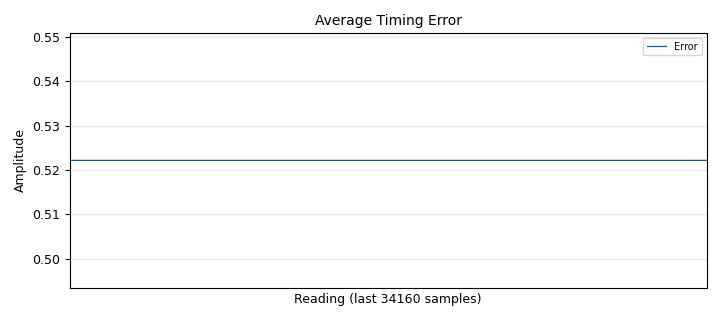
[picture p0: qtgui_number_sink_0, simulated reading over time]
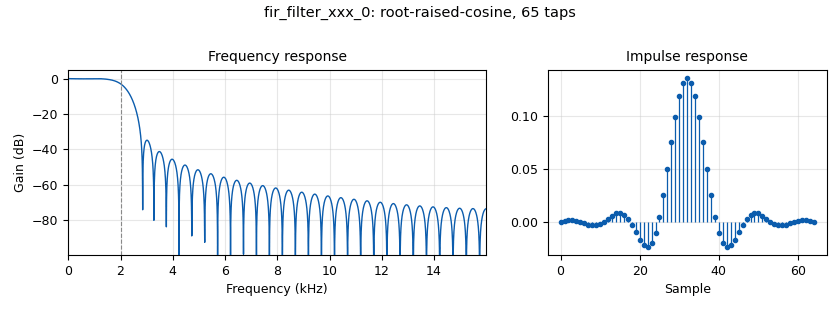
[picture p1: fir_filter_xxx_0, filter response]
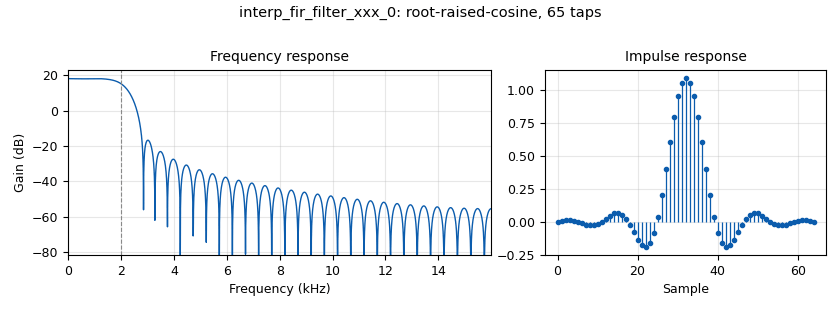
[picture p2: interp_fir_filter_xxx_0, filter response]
options:
  parameters:
    generate_options: qt_gui
    id: exp2
    output_language: python
    title: Early-Late Timing Error Detector
  states: {}

blocks:
- name: alpha
  id: variable
  parameters:
    value: '0.35'
  states: {}
- name: base_delay
  id: variable
  parameters:
    value: sps
  states: {}
- name: delta
  id: variable
  parameters:
    value: '1'
  states: {}
- name: ntaps
  id: variable
  parameters:
    value: span * sps + 1
  states: {}
- name: samp_rate
  id: variable
  parameters:
    value: '32000'
  states: {}
- name: span
  id: variable
  parameters:
    value: '8'
  states: {}
- name: sps
  id: variable
  parameters:
    value: int(samp_rate / symbol_rate)
  states: {}
- name: symbol_rate
  id: variable
  parameters:
    value: '4000'
  states: {}
- name: timing_offset
  id: variable_qtgui_range
  parameters:
    label: Assumed Timing Offset (samples)
    start: '-3'
    step: '1'
    stop: '3'
    value: '0'
  states: {}
- name: blocks_delay_0
  id: blocks_delay
  parameters:
    delay: base_delay + timing_offset - delta
    type: float
  states: {}
- name: blocks_delay_0_0
  id: blocks_delay
  parameters:
    delay: base_delay + timing_offset + delta
    type: float
  states: {}
- name: blocks_keep_one_in_n_0_0
  id: blocks_keep_one_in_n
  parameters:
    n: sps
    type: float
  states: {}
- name: blocks_keep_one_in_n_0_0_0
  id: blocks_keep_one_in_n
  parameters:
    n: sps
    type: float
  states: {}
- name: blocks_moving_average_xx_0
  id: blocks_moving_average_xx
  parameters:
    length: '32'
    max_iter: '4000'
    scale: 1/32
    type: float
  states: {}
- name: blocks_multiply_xx_0
  id: blocks_multiply_xx
  parameters:
    type: float
  states: {}
- name: blocks_multiply_xx_0_0
  id: blocks_multiply_xx
  parameters:
    type: float
  states: {}
- name: blocks_sub_xx_0
  id: blocks_sub_xx
  parameters:
    type: float
  states: {}
- name: blocks_throttle2_0
  id: blocks_throttle2
  parameters:
    samples_per_second: samp_rate
    type: float
  states: {}
- name: blocks_vector_source_x_0
  id: blocks_vector_source_x
  parameters:
    repeat: 'True'
    type: float
    vector: '[1, -1, 1, -1, 1, -1, 1, -1]'
  states: {}
- name: fir_filter_xxx_0
  id: fir_filter_xxx
  parameters:
    decim: '1'
    taps: firdes.root_raised_cosine(1, samp_rate, symbol_rate, alpha, ntaps)
    type: fff
  states: {}
- name: import_0
  id: import
  parameters:
    imports: import math
  states: {}
- name: interp_fir_filter_xxx_0
  id: interp_fir_filter_xxx
  parameters:
    interp: sps
    taps: firdes.root_raised_cosine(sps, samp_rate, symbol_rate, alpha, ntaps)
    type: fff
  states: {}
- name: qtgui_number_sink_0
  id: qtgui_number_sink
  parameters:
    graph_type: qtgui.NUM_GRAPH_HORIZ
    label1: Error
    name: Average Timing Error
    type: float
  states: {}

connections:
- [blocks_delay_0, '0', blocks_keep_one_in_n_0_0, '0']
- [blocks_delay_0_0, '0', blocks_keep_one_in_n_0_0_0, '0']
- [blocks_keep_one_in_n_0_0, '0', blocks_multiply_xx_0, '0']
- [blocks_keep_one_in_n_0_0, '0', blocks_multiply_xx_0, '1']
- [blocks_keep_one_in_n_0_0_0, '0', blocks_multiply_xx_0_0, '0']
- [blocks_keep_one_in_n_0_0_0, '0', blocks_multiply_xx_0_0, '1']
- [blocks_moving_average_xx_0, '0', qtgui_number_sink_0, '0']
- [blocks_multiply_xx_0, '0', blocks_sub_xx_0, '0']
- [blocks_multiply_xx_0_0, '0', blocks_sub_xx_0, '1']
- [blocks_sub_xx_0, '0', blocks_moving_average_xx_0, '0']
- [blocks_throttle2_0, '0', fir_filter_xxx_0, '0']
- [blocks_vector_source_x_0, '0', interp_fir_filter_xxx_0, '0']
- [fir_filter_xxx_0, '0', blocks_delay_0, '0']
- [fir_filter_xxx_0, '0', blocks_delay_0_0, '0']
- [interp_fir_filter_xxx_0, '0', blocks_throttle2_0, '0']

metadata:
  file_format: 1
  grc_version: 3.10.12.0
